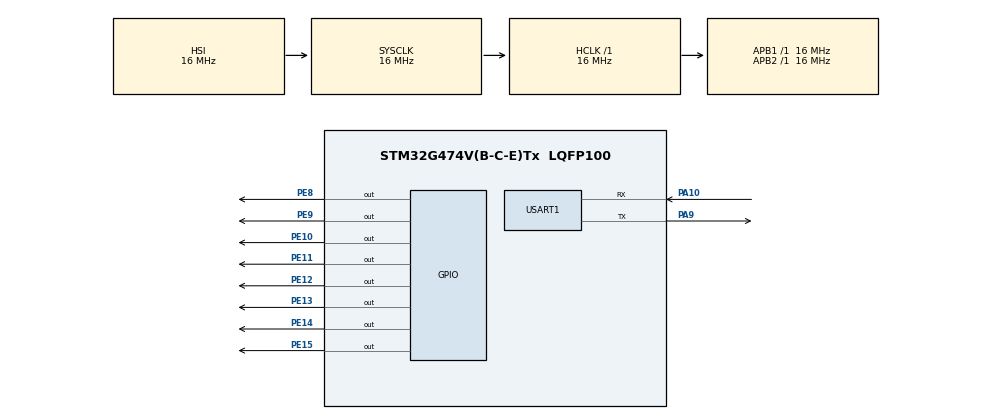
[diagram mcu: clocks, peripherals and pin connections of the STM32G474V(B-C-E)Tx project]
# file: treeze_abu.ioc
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FREERTOS.Queues01=Queue01,16,uint32_t,0,Dynamic,NULL,NULL
FREERTOS.Tasks01=SendTask,0,128,StartDefaultTask,Default,NULL,Dynamic,NULL,NULL;ReceiveTask,-3,128,StartTask02,Default,NULL,Dynamic,NULL,NULL
FREERTOS.configUSE_NEWLIB_REENTRANT=1
Mcu.Family=STM32G4
Mcu.Name=STM32G474V(B-C-E)Tx
Mcu.Package=LQFP100
NVIC.PriorityGroup=NVIC_PRIORITYGROUP_4
PA10.GPIO_PuPd=GPIO_PULLDOWN
PA10.Mode=Asynchronous
PA10.Signal=USART1_RX
PA13.Mode=JTAG_4_pins
PA13.Signal=SYS_JTMS-SWDIO
PA14.Mode=JTAG_4_pins
PA14.Signal=SYS_JTCK-SWCLK
PA15.Mode=JTAG_4_pins
PA15.Signal=SYS_JTDI
PA9.GPIO_PuPd=GPIO_PULLDOWN
PA9.Mode=Asynchronous
PA9.Signal=USART1_TX
PB3.Mode=JTAG_4_pins
PB3.Signal=SYS_JTDO-SWO
PE10.GPIO_PuPd=GPIO_PULLUP
PE10.Signal=GPIO_Output
PE11.GPIO_PuPd=GPIO_PULLUP
PE11.Signal=GPIO_Output
PE12.GPIO_PuPd=GPIO_PULLUP
PE12.Signal=GPIO_Output
PE13.GPIO_PuPd=GPIO_PULLUP
PE13.Signal=GPIO_Output
PE14.GPIO_PuPd=GPIO_PULLUP
PE14.Signal=GPIO_Output
PE15.GPIO_PuPd=GPIO_PULLUP
PE15.Signal=GPIO_Output
PE8.GPIO_ModeDefaultOutputPP=GPIO_MODE_OUTPUT_PP
PE8.GPIO_PuPd=GPIO_PULLUP
PE8.PinState=GPIO_PIN_RESET
PE8.Signal=GPIO_Output
PE9.GPIO_PuPd=GPIO_PULLUP
PE9.Signal=GPIO_Output
ProjectManager.HeapSize=0x200
ProjectManager.StackSize=0x400
ProjectManager.TargetToolchain=STM32CubeIDE
RCC.AHBFreq_Value=16000000
RCC.APB1Freq_Value=16000000
RCC.APB1TimFreq_Value=16000000
RCC.APB2Freq_Value=16000000
RCC.APB2TimFreq_Value=16000000
RCC.CortexFreq_Value=16000000
RCC.EXTERNAL_CLOCK_VALUE=12288000
RCC.HCLKFreq_Value=16000000
RCC.HSE_VALUE=8000000
RCC.HSI48_VALUE=48000000
RCC.HSI_VALUE=16000000
RCC.LSE_VALUE=32768
RCC.SYSCLKFreq_VALUE=16000000
RCC.USBFreq_Value=64000000
RCC.VCOOutputFreq_Value=128000000
USART1.StopBits=STOPBITS_1
USART1.VirtualMode-Asynchronous=VM_ASYNC
VP_FREERTOS_VS_CMSIS_V1.Mode=CMSIS_V1
board=custom

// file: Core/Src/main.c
/* USER CODE BEGIN Header */
/**
 ******************************************************************************
 * @file           : main.c
 * @brief          : Main program body
 ******************************************************************************
 * @attention
 *
 * Copyright (c) 2023 STMicroelectronics.
 * All rights reserved.
 *
 * This software is licensed under terms that can be found in the LICENSE file
 * in the root directory of this software component.
 * If no LICENSE file comes with this software, it is provided AS-IS.
 *
 ******************************************************************************
 */
/* USER CODE END Header */
#include "main.h"
#include "cmsis_os.h"
#include "swv_write.h"
#include "binary_msg.h"

/* USER CODE BEGIN PTD */
MessageQ *pMsgQ;
/* USER CODE END PTD */

UART_HandleTypeDef huart1;

osThreadId SendTaskHandle;
osThreadId ReceiveTaskHandle;
osMessageQId Queue01Handle;
/* USER CODE BEGIN PV */
osPoolId Pool_ID;
/* USER CODE END PV */

void SystemClock_Config(void);
static void MX_GPIO_Init(void);
static void MX_USART1_UART_Init(void);
void StartDefaultTask(void const *argument);
void StartTask02(void const *argument);

int main(void) {

	/* MCU Configuration--------------------------------------------------------*/

	/* Reset of all peripherals, Initializes the Flash interface and the Systick. */
	HAL_Init();

	/* Configure the system clock */
	SystemClock_Config();

	/* Initialize all configured peripherals */
	MX_GPIO_Init();
	MX_USART1_UART_Init();
	/* USER CODE BEGIN 2 */
	HAL_GPIO_WritePin(GPIOE,
	GPIO_PIN_8 | GPIO_PIN_10 | GPIO_PIN_12 | GPIO_PIN_14, GPIO_PIN_SET);
	HAL_GPIO_WritePin(GPIOE,
	GPIO_PIN_9 | GPIO_PIN_11 | GPIO_PIN_13 | GPIO_PIN_15, GPIO_PIN_RESET);

	printf("hello!!!\r\n");
	for (uint8_t i = 0; i < 10; i++) {
		HAL_GPIO_TogglePin(GPIOE, 0xFF00);
		HAL_Delay(500);
	}
	MX_GPIO_Init();
	/* USER CODE END 2 */

	/* Create the queue(s) */
	/* definition and creation of Queue01 */
	osMessageQDef(Queue01, 16, uint32_t);
	Queue01Handle = osMessageCreate(osMessageQ(Queue01), NULL);

	/* USER CODE BEGIN RTOS_QUEUES */
	/* add queues, ... */
	osPoolDef(Pool_ID_, sizeof(MessageQ), MessageQ);
	Pool_ID = osPoolCreate(osPool(Pool_ID_));
	/* USER CODE END RTOS_QUEUES */

	/* Create the thread(s) */
	/* definition and creation of SendTask */
	osThreadDef(SendTask, StartDefaultTask, osPriorityNormal, 0, 128);
	SendTaskHandle = osThreadCreate(osThread(SendTask), NULL);

	/* definition and creation of ReceiveTask */
	osThreadDef(ReceiveTask, StartTask02, osPriorityIdle, 0, 128);
	ReceiveTaskHandle = osThreadCreate(osThread(ReceiveTask), NULL);

	/* Start scheduler */
	osKernelStart();

	/* We should never get here as control is now taken by the scheduler */
	/* Infinite loop */
	while (1) {
	}
}

void SystemClock_Config(void) {
	RCC_OscInitTypeDef RCC_OscInitStruct = { 0 };
	RCC_ClkInitTypeDef RCC_ClkInitStruct = { 0 };

	/** Configure the main internal regulator output voltage
	 */
	HAL_PWREx_ControlVoltageScaling(PWR_REGULATOR_VOLTAGE_SCALE1);

	/** Initializes the RCC Oscillators according to the specified parameters
	 * in the RCC_OscInitTypeDef structure.
	 */
	RCC_OscInitStruct.OscillatorType = RCC_OSCILLATORTYPE_HSI;
	RCC_OscInitStruct.HSIState = RCC_HSI_ON;
	RCC_OscInitStruct.HSICalibrationValue = RCC_HSICALIBRATION_DEFAULT;
	RCC_OscInitStruct.PLL.PLLState = RCC_PLL_NONE;
	if (HAL_RCC_OscConfig(&RCC_OscInitStruct) != HAL_OK) {
		Error_Handler();
	}

	/** Initializes the CPU, AHB and APB buses clocks
	 */
	RCC_ClkInitStruct.ClockType = RCC_CLOCKTYPE_HCLK | RCC_CLOCKTYPE_SYSCLK
			| RCC_CLOCKTYPE_PCLK1 | RCC_CLOCKTYPE_PCLK2;
	RCC_ClkInitStruct.SYSCLKSource = RCC_SYSCLKSOURCE_HSI;
	RCC_ClkInitStruct.AHBCLKDivider = RCC_SYSCLK_DIV1;
	RCC_ClkInitStruct.APB1CLKDivider = RCC_HCLK_DIV1;
	RCC_ClkInitStruct.APB2CLKDivider = RCC_HCLK_DIV1;

	if (HAL_RCC_ClockConfig(&RCC_ClkInitStruct, FLASH_LATENCY_0) != HAL_OK) {
		Error_Handler();
	}
}

static void MX_USART1_UART_Init(void) {

	huart1.Instance = USART1;
	huart1.Init.BaudRate = 115200;
	huart1.Init.WordLength = UART_WORDLENGTH_8B;
	huart1.Init.StopBits = UART_STOPBITS_1;
	huart1.Init.Parity = UART_PARITY_NONE;
	huart1.Init.Mode = UART_MODE_TX_RX;
	huart1.Init.HwFlowCtl = UART_HWCONTROL_NONE;
	huart1.Init.OverSampling = UART_OVERSAMPLING_16;
	huart1.Init.OneBitSampling = UART_ONE_BIT_SAMPLE_DISABLE;
	huart1.Init.ClockPrescaler = UART_PRESCALER_DIV1;
	huart1.AdvancedInit.AdvFeatureInit = UART_ADVFEATURE_NO_INIT;
	if (HAL_UART_Init(&huart1) != HAL_OK) {
		Error_Handler();
	}
	if (HAL_UARTEx_SetTxFifoThreshold(&huart1, UART_TXFIFO_THRESHOLD_1_8)
			!= HAL_OK) {
		Error_Handler();
	}
	if (HAL_UARTEx_SetRxFifoThreshold(&huart1, UART_RXFIFO_THRESHOLD_1_8)
			!= HAL_OK) {
		Error_Handler();
	}
	if (HAL_UARTEx_DisableFifoMode(&huart1) != HAL_OK) {
		Error_Handler();
	}

}

static void MX_GPIO_Init(void) {
	GPIO_InitTypeDef GPIO_InitStruct = { 0 };

	/* GPIO Ports Clock Enable */
	__HAL_RCC_GPIOE_CLK_ENABLE();
	__HAL_RCC_GPIOA_CLK_ENABLE();
	__HAL_RCC_GPIOB_CLK_ENABLE();

	/*Configure GPIO pin Output Level */
	HAL_GPIO_WritePin(GPIOE,
			GPIO_PIN_8 | GPIO_PIN_9 | GPIO_PIN_10 | GPIO_PIN_11 | GPIO_PIN_12
					| GPIO_PIN_13 | GPIO_PIN_14 | GPIO_PIN_15, GPIO_PIN_SET);

	/*Configure GPIO pins : PE8 PE9 PE10 PE11
	 PE12 PE13 PE14 PE15 */
	GPIO_InitStruct.Pin = GPIO_PIN_8 | GPIO_PIN_9 | GPIO_PIN_10 | GPIO_PIN_11
			| GPIO_PIN_12 | GPIO_PIN_13 | GPIO_PIN_14 | GPIO_PIN_15;
	GPIO_InitStruct.Mode = GPIO_MODE_OUTPUT_PP;
	GPIO_InitStruct.Pull = GPIO_PULLUP;
	GPIO_InitStruct.Speed = GPIO_SPEED_FREQ_LOW;
	HAL_GPIO_Init(GPIOE, &GPIO_InitStruct);

}

void StartDefaultTask(void const *argument) {
	/* USER CODE BEGIN 5 */
	uint8_t num = 0;

	/* Infinite loop */
	for (;;) {
		if (num == 16) {
			num = 0;
		}

		pMsgQ = (MessageQ*) osPoolAlloc(Pool_ID);
		Increase_Binary(&num, pMsgQ);
		osMessagePut(Queue01Handle, (uint32_t) pMsgQ, osWaitForever);

		num++;
		osDelay(1000);
	}
	/* USER CODE END 5 */
}

void StartTask02(void const *argument) {
	/* USER CODE BEGIN StartTask02 */
	/* Infinite loop */
	for (;;) {
		osEvent event = osMessageGet(Queue01Handle, osWaitForever);

		if (event.status == osEventMessage) {
			pMsgQ = event.value.p;

			HAL_GPIO_WritePin(GPIOE, GPIO_PIN_15, !(pMsgQ->param[0]));
			HAL_GPIO_WritePin(GPIOE, GPIO_PIN_14, !(pMsgQ->param[1]));
			HAL_GPIO_WritePin(GPIOE, GPIO_PIN_13, !(pMsgQ->param[2]));
			HAL_GPIO_WritePin(GPIOE, GPIO_PIN_12, !(pMsgQ->param[3]));

			printf("%d %d %d %d\r\n", pMsgQ->param[3], pMsgQ->param[2],
					pMsgQ->param[1], pMsgQ->param[0]);
			osPoolFree(Pool_ID, pMsgQ);
		}
		osDelay(1);
	}
	/* USER CODE END StartTask02 */
}

void Error_Handler(void) {
	__disable_irq();
	while (1) {
	}
}
